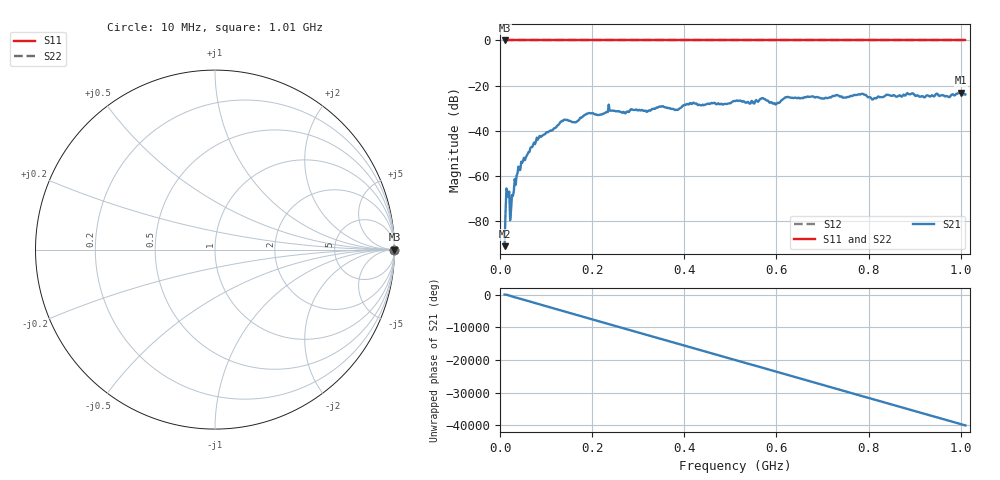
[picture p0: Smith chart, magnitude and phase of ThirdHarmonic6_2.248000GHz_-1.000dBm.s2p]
! 8/17/2025 2:41:04 AM
! C:\ANRITSUVNA\TEMP\TEMP.S2P
! CHANNEL.1
! TR.MEASUREMENT
! RAW.DATA
! RF.CORRECTION.OFF
! AVERAGING.OFF
! IF.BANDWIDTH: 5KHZ
! SWEEPTYPE:  FREQ.SWEEP(Linear)
! Reference Plane Port Info
! PORT:  PORT1  PORT2
! DISTANCE:  0  m  0  m
! TIME:  0  s  0  s
! PHASE.OFFSET:  0  deg.  0  deg.
! LOSS:  0  dB  0  dB
! REF.LOSS:  0  dB  0  dB
! REF.FREQ:  0  Hz  0  Hz
! Power Info
! POWER:  -20  dBm  -20  dBm
! EFF.POWER:  -20  dBm  -20  dBm
! SOURCE.ATTEN:  0  dB  0  dB
! TEST.ATTEN:  0  dB  0  dB
# GHZ S RI R 50.0
! FREQ.GHZ  S11RE  S11IM  S21RE  S21IM  S12RE  S12IM  S22RE  S22IM
!; PortSelection: Port_12
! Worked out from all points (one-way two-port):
!   501 points, 10 MHz to 1.01 GHz, reference 50 ohm
!   highest |S21| = -23.13 dB at 1 GHz (marker M1); lowest = -91.1 dB at 10 MHz (marker M2)
!   lowest |S11| = 0.0 dB at 10 MHz (marker M3)
!   |S11| at or under -10 dB: nowhere
!   |S22| runs from 0.0 to 0.0 dB; largest |S21 - S12| = 1.1
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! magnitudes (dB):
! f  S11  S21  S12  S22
! 10 MHz  0.0  -91.1  0.0  0.0
! 16 MHz  0.0  -66.8  0.0  0.0
! 26 MHz  0.0  -68.4  0.0  0.0
! 36 MHz  0.0  -59.8  0.0  0.0
! 44 MHz  0.0  -57.3  0.0  0.0
! 82 MHz  0.0  -43.9  0.0  0.0
! 136 MHz  0.0  -35.7  0.0  0.0
! 162 MHz  0.0  -36.2  0.0  0.0
! 178 MHz  0.0  -34.0  0.0  0.0
! 240 MHz  0.0  -31.1  0.0  0.0
! 268 MHz  0.0  -31.6  0.0  0.0
! 344 MHz  0.0  -29.5  0.0  0.0
! 382 MHz  0.0  -30.7  0.0  0.0
! 416 MHz  0.0  -28.1  0.0  0.0
! 510 MHz  0.0  -26.8  0.0  0.0
! 570 MHz  0.0  -25.5  0.0  0.0
! 596 MHz  0.0  -27.7  0.0  0.0
! 622 MHz  0.0  -25.1  0.0  0.0
! 678 MHz  0.0  -24.7  0.0  0.0
! 844 MHz  0.0  -24.2  0.0  0.0
! 1 GHz  0.0  -23.1  0.0  0.0
! 1.01 GHz  0.0  -23.9  0.0  0.0
